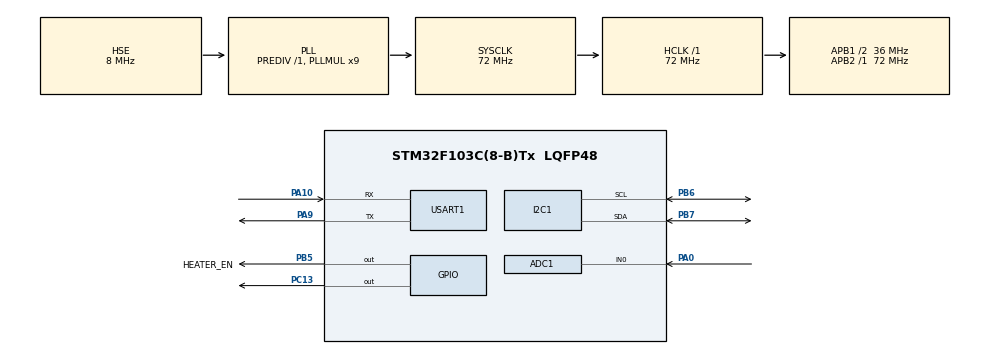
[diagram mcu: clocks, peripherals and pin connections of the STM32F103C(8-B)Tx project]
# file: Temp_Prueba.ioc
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ADC1.Channel-4\#ChannelRegularConversion=ADC_CHANNEL_0
ADC1.ContinuousConvMode=ENABLE
ADC1.NbrOfConversion=1
ADC1.NbrOfConversionFlag=1
ADC1.Rank-4\#ChannelRegularConversion=1
ADC1.SamplingTime-4\#ChannelRegularConversion=ADC_SAMPLETIME_239CYCLES_5
ADC1.master=1
Dma.ADC1.0.Direction=DMA_PERIPH_TO_MEMORY
Dma.ADC1.0.Instance=DMA1_Channel1
Dma.ADC1.0.MemDataAlignment=DMA_MDATAALIGN_HALFWORD
Dma.ADC1.0.MemInc=DMA_MINC_ENABLE
Dma.ADC1.0.Mode=DMA_NORMAL
Dma.ADC1.0.PeriphDataAlignment=DMA_PDATAALIGN_HALFWORD
Dma.ADC1.0.PeriphInc=DMA_PINC_DISABLE
Dma.ADC1.0.Priority=DMA_PRIORITY_LOW
Dma.Request0=ADC1
Mcu.Family=STM32F1
Mcu.Name=STM32F103C(8-B)Tx
Mcu.Package=LQFP48
NVIC.DMA1_Channel1_IRQn=true\:0\:0\:false\:false\:true\:false\:true\:true
NVIC.PriorityGroup=NVIC_PRIORITYGROUP_4
NVIC.TIM3_IRQn=true\:0\:0\:false\:false\:true\:true\:true\:true
PA0-WKUP.Signal=ADCx_IN0
PA10.Mode=Asynchronous
PA10.Signal=USART1_RX
PA13.Mode=Serial_Wire
PA13.Signal=SYS_JTMS-SWDIO
PA14.Mode=Serial_Wire
PA14.Signal=SYS_JTCK-SWCLK
PA9.Mode=Asynchronous
PA9.Signal=USART1_TX
PB5.GPIO_Label=HEATER_EN
PB5.Signal=GPIO_Output
PB6.Mode=I2C
PB6.Signal=I2C1_SCL
PB7.Mode=I2C
PB7.Signal=I2C1_SDA
PC13-TAMPER-RTC.Signal=GPIO_Output
PD0-OSC_IN.Mode=HSE-External-Oscillator
PD0-OSC_IN.Signal=RCC_OSC_IN
PD1-OSC_OUT.Mode=HSE-External-Oscillator
PD1-OSC_OUT.Signal=RCC_OSC_OUT
ProjectManager.HeapSize=0x200
ProjectManager.StackSize=0x400
ProjectManager.TargetToolchain=STM32CubeIDE
RCC.ADCPresc=RCC_ADCPCLK2_DIV6
RCC.AHBFreq_Value=72000000
RCC.APB1CLKDivider=RCC_HCLK_DIV2
RCC.APB1Freq_Value=36000000
RCC.APB1TimFreq_Value=72000000
RCC.APB2Freq_Value=72000000
RCC.APB2TimFreq_Value=72000000
RCC.HCLKFreq_Value=72000000
RCC.PLLMUL=RCC_PLL_MUL9
RCC.PLLSourceVirtual=RCC_PLLSOURCE_HSE
RCC.SYSCLKFreq_VALUE=72000000
RCC.SYSCLKSource=RCC_SYSCLKSOURCE_PLLCLK
RCC.USBFreq_Value=72000000
SH.ADCx_IN0.0=ADC1_IN0,IN0
TIM3.Period=99
TIM3.Prescaler=71
USART1.VirtualMode=VM_ASYNC
VP_TIM3_VS_ClockSourceINT.Mode=Internal
board=custom

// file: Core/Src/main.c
/* USER CODE BEGIN Header */
/**
  ******************************************************************************
  * @file           : main.c  (IOC-managed GPIO / Control calefactor integrado)
  * @brief          : Subsistema térmico con TIM3 (sin delays en runtime)
  *                   + control ON/OFF del calentador (IRFZ44N via BC337/BC327)
  *                   usando el pin configurado en el .ioc (ej.: PB5 = HEATER_EN).
  *
  *  Notas:
  *   - No inicializa el GPIO del heater aquí: lo hace MX_GPIO_Init() generado
  *     por CubeMX a partir del .ioc (User Label = HEATER_EN).
  *   - Usa macros HEATER_EN_Pin y HEATER_EN_GPIO_Port generadas en main.h.
  ******************************************************************************
  */
/* USER CODE END Header */
#include "main.h"
#include "adc.h"
#include "dma.h"
#include "i2c.h"
#include "tim.h"
#include "usart.h"
#include "gpio.h"

/* USER CODE BEGIN Includes */
#include "i2c-lcd.h"
#include <stdio.h>
#include <math.h>
#include <string.h>
#include <stdbool.h>
/* USER CODE END Includes */

/* USER CODE BEGIN PD */
// --- NTC y divisor (pull-up: Rfix a 3.3V, NTC a GND) ---
#define VREF    3.3f
#define ADCMAX  4095.0f
#define RFIX    1000.0f      // 10kΩ a 3.3V
#define R0_NTC  100000.0f     // 100kΩ @ 25°C
#define T0_K    298.15f       // 25°C
#define BETA    3950.0f       // típico B3950

// --- Parámetros de control térmico ---
#define TEMP_TARGET  245      // Setpoint (°C) - Formato entero para UART
#define HYST         2        // Histéresis (°C)
#define TEMP_MAX     270      // Corte por seguridad (°C)

// --- Configuración DMA ---
#define ADC_SAMPLES 32        // Cantidad de muestras por lectura
/* USER CODE END PD */

/* USER CODE BEGIN PM */
static inline float adc_to_voltage(uint16_t adc) { return (adc * VREF) / ADCMAX; }
static inline void heater_set(bool on) {
  HAL_GPIO_WritePin(HEATER_EN_GPIO_Port, HEATER_EN_Pin, on ? GPIO_PIN_SET : GPIO_PIN_RESET);
}
/* USER CODE END PM */

/* USER CODE BEGIN PV */
volatile uint8_t flag_100ms = 0;   // Solo usamos esta flag
static float v_filt = 0.0f;

volatile uint16_t adc_buffer[ADC_SAMPLES];
volatile bool adc_conversion_complete = false;

// --- UART Debug ---
char uart_buffer[128];  // Buffer para mensajes UART

/* USER CODE END PV */

void SystemClock_Config(void);
/* USER CODE BEGIN PFP */
static uint16_t process_adc_buffer(void);
static float    ntc_temp_c_from_adc(uint16_t adc);
/* USER CODE END PFP */

/* USER CODE BEGIN 0 */

/* USER CODE BEGIN 0 */

// Esta función es el "Callback". El sistema la llama automáticamente
// cuando el DMA termina de llenar el buffer.
void HAL_ADC_ConvCpltCallback(ADC_HandleTypeDef* hadc) {
    if (hadc->Instance == ADC1) {
        adc_conversion_complete = true; // ¡Avisar al Chef que los datos están listos!
    }
}

// Procesa el buffer lleno (calcula promedio descartando extremos)
// Esto es pura matemática, no toca el hardware, así que es rapidísimo.
static uint16_t process_adc_buffer(void) {
  uint32_t acc = 0;
  uint16_t vmin = 0xFFFF, vmax = 0;

  for (uint8_t i = 0; i < ADC_SAMPLES; i++) {
    uint16_t v = adc_buffer[i];
    if (v < vmin) vmin = v;
    if (v > vmax) vmax = v;
    acc += v;
  }

  if (ADC_SAMPLES > 2) {
      acc -= (vmin + vmax);
      return (uint16_t)(acc / (ADC_SAMPLES - 2));
  }
  return (uint16_t)(acc / ADC_SAMPLES);
}

// ADC -> Voltaje -> R_NTC -> Temperatura (modelo Beta)
static float ntc_temp_c_from_adc(uint16_t adc) {
  float v = adc_to_voltage(adc);
  if (v <= 0.0f || v >= VREF) return NAN;         // fuera de rango → sensor inválido
  float r_ntc = RFIX * (v / (VREF - v));
  float invT  = (1.0f / T0_K) + (1.0f / BETA) * logf(r_ntc / R0_NTC);
  float Tkelvin = 1.0f / invT;
  return Tkelvin - 273.15f;
}
/* USER CODE END 0 */

int main(void)
{

  /* MCU Configuration--------------------------------------------------------*/

  /* Reset of all peripherals, Initializes the Flash interface and the Systick. */
  HAL_Init();

  /* Configure the system clock */
  SystemClock_Config();

  /* Initialize all configured peripherals */
  MX_GPIO_Init();
  MX_DMA_Init();
  MX_ADC1_Init();
  MX_I2C1_Init();
  MX_TIM3_Init();
  MX_USART1_UART_Init();
  /* USER CODE BEGIN 2 */
  // Calibración del ADC (F103): una vez antes de medir
  HAL_ADCEx_Calibration_Start(&hadc1);

  // LCD
  lcd_init();
  lcd_clear();
  lcd_put_cur(0,0); lcd_send_string("NTC Bluepill");
  lcd_put_cur(1,0); lcd_send_string("Init...");
  HAL_Delay(800);               // único delay de arranque
  lcd_clear();

  // Timer base con interrupción (tick 1 ms)
  HAL_TIM_Base_Start_IT(&htim3);

  char line1[17], line2[17];
  static float tc_filt = NAN;   // EMA temperatura
  static float tc_disp = NAN;   // último valor mostrado
  static uint32_t t_last = 0;   // último refresh LCD
  static bool heater_on = false;
  v_filt = 0.0f;

  /* USER CODE END 2 */

  /* Infinite loop */
  /* USER CODE BEGIN WHILE */
  while (1)
  {
    // TAREA 1: Disparar la lectura (Trigger)
    if (flag_100ms) {
      flag_100ms = 0;
      // En lugar de leer aquí bloqueando, le decimos al DMA: "Arranca".
      // El CPU sigue de largo inmediatamente.
      HAL_ADC_Start_DMA(&hadc1, (uint32_t*)adc_buffer, ADC_SAMPLES);
    }

    // TAREA 2: Procesar datos cuando estén listos
    if (adc_conversion_complete) {
      adc_conversion_complete = false; // Bajamos la bandera

      // 1) Procesar el buffer (Matemática pura, muy rápido)
      uint16_t adc = process_adc_buffer();

      // 2) Voltaje + EMA (presentación)
      float v  = adc_to_voltage(adc);
      const float alpha_V = 0.10f;
      v_filt = (1.0f - alpha_V) * v_filt + alpha_V * v;

      // 3) Convertir a °C
      float tc = ntc_temp_c_from_adc(adc);

      // 4) EMA de temperatura
      const float alpha_T = 0.10f;
      if (isnan(tc_filt)) tc_filt = tc; else tc_filt += alpha_T * (tc - tc_filt);

      // 5) Control ON/OFF con histéresis + seguridad
      bool sensor_ok = !isnan(tc_filt);
      bool overtemp  = sensor_ok && (tc_filt > TEMP_MAX);
      if (!sensor_ok || overtemp) {
        heater_on = false;                  // seguridad
      } else {
        if (!heater_on && (tc_filt <= (TEMP_TARGET - HYST))) heater_on = true;
        else if (heater_on && (tc_filt >= (TEMP_TARGET + HYST))) heater_on = false;
      }
      heater_set(heater_on);

      // 6) Display
      uint32_t now = HAL_GetTick();
      bool debe_refrescar = isnan(tc_disp)
                         || fabsf(tc_filt - tc_disp) >= 0.10f
                         || (now - t_last) >= 1000;
      if (debe_refrescar) {
        tc_disp = tc_filt; t_last = now;

        // Línea 1: Temperatura actual y setpoint
        if (isnan(tc_disp))
          snprintf(line1, sizeof(line1), "T:---C S:%dC", TEMP_TARGET);
        else
          snprintf(line1, sizeof(line1), "T:%.1fC S:%dC", tc_disp, TEMP_TARGET);

        // Línea 2: ADC y estado del calefactor
        snprintf(line2, sizeof(line2), "ADC:%4u H:%s", adc, heater_on ? "ON " : "OFF");

        lcd_put_cur(0,0); lcd_send_string(line1);
        lcd_put_cur(1,0); lcd_send_string(line2);
      }
    }

    /* USER CODE END WHILE */

  }
}

void SystemClock_Config(void)
{
  RCC_OscInitTypeDef RCC_OscInitStruct = {0};
  RCC_ClkInitTypeDef RCC_ClkInitStruct = {0};
  RCC_PeriphCLKInitTypeDef PeriphClkInit = {0};

  /** Initializes the RCC Oscillators according to the specified parameters
  * in the RCC_OscInitTypeDef structure.
  */
  RCC_OscInitStruct.OscillatorType = RCC_OSCILLATORTYPE_HSE;
  RCC_OscInitStruct.HSEState = RCC_HSE_ON;
  RCC_OscInitStruct.HSEPredivValue = RCC_HSE_PREDIV_DIV1;
  RCC_OscInitStruct.HSIState = RCC_HSI_ON;
  RCC_OscInitStruct.PLL.PLLState = RCC_PLL_ON;
  RCC_OscInitStruct.PLL.PLLSource = RCC_PLLSOURCE_HSE;
  RCC_OscInitStruct.PLL.PLLMUL = RCC_PLL_MUL9;
  if (HAL_RCC_OscConfig(&RCC_OscInitStruct) != HAL_OK)
  {
    Error_Handler();
  }

  /** Initializes the CPU, AHB and APB buses clocks
  */
  RCC_ClkInitStruct.ClockType = RCC_CLOCKTYPE_HCLK|RCC_CLOCKTYPE_SYSCLK
                              |RCC_CLOCKTYPE_PCLK1|RCC_CLOCKTYPE_PCLK2;
  RCC_ClkInitStruct.SYSCLKSource = RCC_SYSCLKSOURCE_PLLCLK;
  RCC_ClkInitStruct.AHBCLKDivider = RCC_SYSCLK_DIV1;
  RCC_ClkInitStruct.APB1CLKDivider = RCC_HCLK_DIV2;
  RCC_ClkInitStruct.APB2CLKDivider = RCC_HCLK_DIV1;

  if (HAL_RCC_ClockConfig(&RCC_ClkInitStruct, FLASH_LATENCY_2) != HAL_OK)
  {
    Error_Handler();
  }
  PeriphClkInit.PeriphClockSelection = RCC_PERIPHCLK_ADC;
  PeriphClkInit.AdcClockSelection = RCC_ADCPCLK2_DIV6;
  if (HAL_RCCEx_PeriphCLKConfig(&PeriphClkInit) != HAL_OK)
  {
    Error_Handler();
  }
}

/* USER CODE BEGIN 4 */
void HAL_TIM_PeriodElapsedCallback(TIM_HandleTypeDef *htim) {
  if (htim->Instance == TIM3) {        // tick = 1 ms
    static uint16_t d100 = 0;
    if (++d100 >= 100) {  // Cada 100 ms
      d100 = 0;
      flag_100ms = 1;
    }
  }
}
/* USER CODE END 4 */

void Error_Handler(void)
{
  __disable_irq();
  while (1)
  {
  }
}
